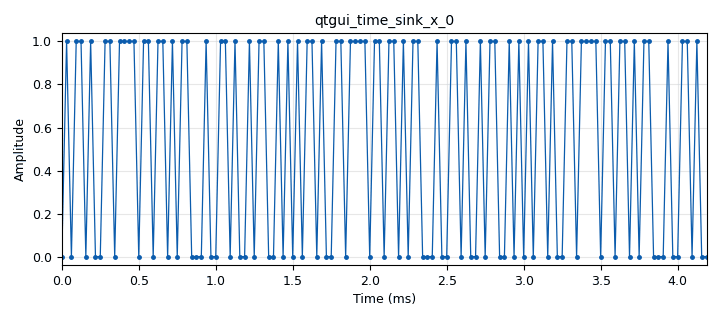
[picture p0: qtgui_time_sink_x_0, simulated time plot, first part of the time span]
<?xml version='1.0' encoding='utf-8'?>
<?grc format='1' created='3.7.9'?>
<flow_graph>
<block>
<key>options</key>
<param><key>id</key><value>top_block</value></param>
<param><key>category</key><value>Custom</value></param>
<param><key>generate_options</key><value>qt_gui</value></param>
</block>
<block>
<key>variable</key>
<param><key>id</key><value>samp_rate</value></param>
<param><key>value</key><value>32000</value></param>
</block>
<block>
<key>variable_tag_object</key>
<param><key>id</key><value>tag</value></param>
<param><key>key</key><value>pmt.intern("Z")</value></param>
<param><key>offset</key><value>0</value></param>
<param><key>src</key><value>pmt.intern("Vsrc")</value></param>
<param><key>value</key><value>pmt.intern("0x5a")</value></param>
</block>
<block>
<key>blocks_packed_to_unpacked_xx</key>
<param><key>id</key><value>blocks_packed_to_unpacked_xx_0</value></param>
<param><key>bits_per_chunk</key><value>1</value></param>
<param><key>endianness</key><value>gr.GR_MSB_FIRST</value></param>
<param><key>type</key><value>byte</value></param>
</block>
<block>
<key>blocks_throttle</key>
<param><key>id</key><value>blocks_throttle_0</value></param>
<param><key>samples_per_second</key><value>samp_rate</value></param>
<param><key>type</key><value>byte</value></param>
</block>
<block>
<key>blocks_uchar_to_float</key>
<param><key>id</key><value>blocks_uchar_to_float_0</value></param>
</block>
<block>
<key>blocks_vector_source_x</key>
<param><key>id</key><value>blocks_vector_source_x_0</value></param>
<param><key>type</key><value>byte</value></param>
<param><key>repeat</key><value>True</value></param>
<param><key>tags</key><value>[tag]</value></param>
<param><key>vector</key><value>list(ord(i) for i in 'Zombie')</value></param>
</block>
<block>
<key>qtgui_time_sink_x</key>
<param><key>id</key><value>qtgui_time_sink_x_0</value></param>
<param><key>ctrlpanel</key><value>True</value></param>
<param><key>color1</key><value>"blue"</value></param>
<param><key>label1</key><value></value></param>
<param><key>marker1</key><value>0</value></param>
<param><key>size</key><value>1024</value></param>
<param><key>srate</key><value>samp_rate</value></param>
<param><key>tr_mode</key><value>qtgui.TRIG_MODE_TAG</value></param>
<param><key>tr_tag</key><value>"Z"</value></param>
<param><key>type</key><value>float</value></param>
<param><key>ymin</key><value>0</value></param>
</block>
<connection><source_block_id>blocks_packed_to_unpacked_xx_0</source_block_id><sink_block_id>blocks_throttle_0</sink_block_id><source_key>0</source_key><sink_key>0</sink_key></connection>
<connection><source_block_id>blocks_throttle_0</source_block_id><sink_block_id>blocks_uchar_to_float_0</sink_block_id><source_key>0</source_key><sink_key>0</sink_key></connection>
<connection><source_block_id>blocks_uchar_to_float_0</source_block_id><sink_block_id>qtgui_time_sink_x_0</sink_block_id><source_key>0</source_key><sink_key>0</sink_key></connection>
<connection><source_block_id>blocks_vector_source_x_0</source_block_id><sink_block_id>blocks_packed_to_unpacked_xx_0</sink_block_id><source_key>0</source_key><sink_key>0</sink_key></connection>
</flow_graph>
